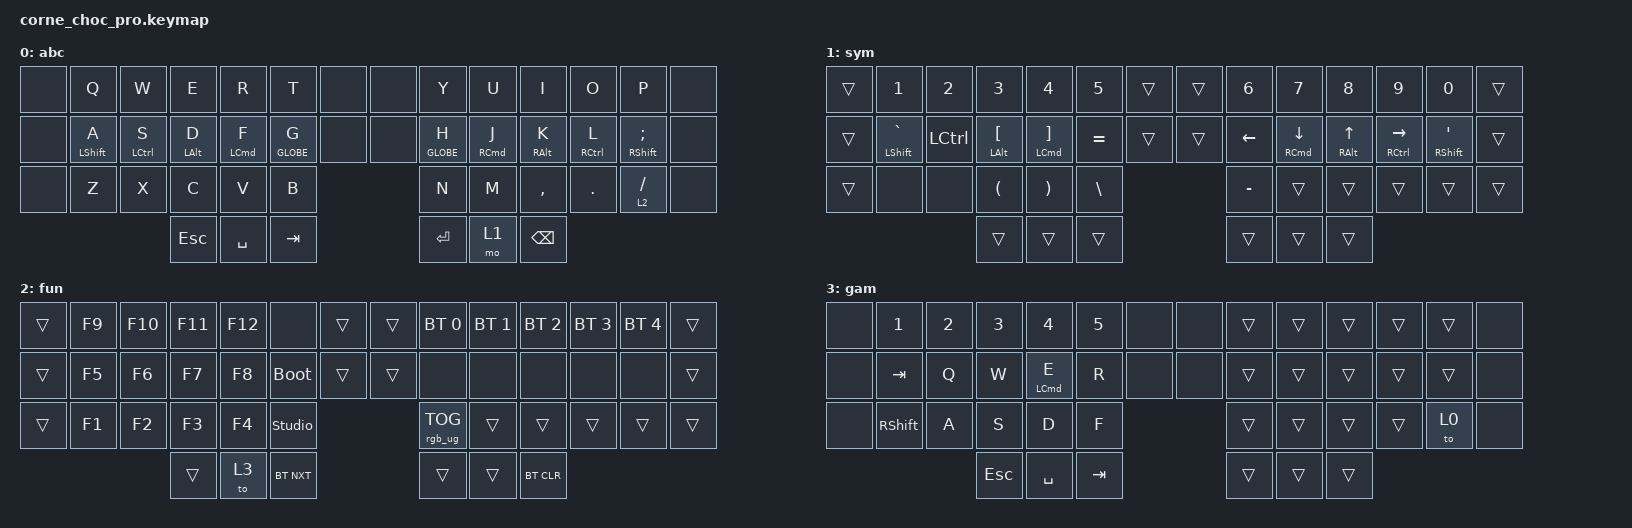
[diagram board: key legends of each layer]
/*
 * Copyright (c) 2020 The ZMK Contributors
 *
 * SPDX-License-Identifier: MIT
 */

#include <behaviors.dtsi>
#include <dt-bindings/zmk/bt.h>
#include <dt-bindings/zmk/keys.h>
#include <dt-bindings/zmk/rgb.h>

/ {
    chosen { zmk,physical-layout = &default_layout; };
};

/ {
    behaviors {
        // Timeless homerow mods implementation inspired by urob's work:
        // https://github.com/urob/zmk-config?tab=readme-ov-file#timeless-homerow-mods
        // Left-hand home row mods

        hml: home_row_mod_left {
            compatible = "zmk,behavior-hold-tap";
            label = "HOME_ROW_MOD_LEFT";
            #binding-cells = <2>;
            flavor = "balanced";
            tapping-term-ms = <280>;
            quick-tap-ms = <175>;
            require-prior-idle-ms = <150>;
            bindings = <&kp>, <&kp>;

            // Right-hand keys + thumbs for corne_choc_pro layout

            hold-trigger-key-positions = <8 9 10 11 12 22 23 24 25 26 34 35 36 37 38 43 44 45>;
            hold-trigger-on-release;
        };

        // Right-hand home row mods  

        hmr: home_row_mod_right {
            compatible = "zmk,behavior-hold-tap";
            label = "HOME_ROW_MOD_RIGHT";
            #binding-cells = <2>;
            flavor = "balanced";
            tapping-term-ms = <280>;
            quick-tap-ms = <175>;
            require-prior-idle-ms = <150>;
            bindings = <&kp>, <&kp>;

            // Left-hand keys + thumbs for corne_choc_pro layout  

            hold-trigger-key-positions = <1 2 3 4 5 15 16 17 18 19 29 30 31 32 33 40 41 42>;
            hold-trigger-on-release;
        };

        lt_hp: lt_hold_preferred {
            compatible = "zmk,behavior-hold-tap";
            label = "LT_HOLD_PREFERRED";
            #binding-cells = <2>;
            flavor = "hold-preferred";
            tapping-term-ms = <200>;
            bindings = <&mo>, <&kp>;
        };
    };

    keymap {
        compatible = "zmk,keymap";

        layer_base {
            display-name = "abc";

            // -----------------------------------------------------------------------------------------
            // |      |  Q  |  W  |  E  |  R  |  T  |      |      |  Y  |  U  |  I  |  O  |  P  |      |
            // |      | A/⇧ | S/⌃ | D/⌥ | F/⌘ | G/🌐 |      |      | H/🌐 | J/⌘ | K/⌥ | L/⌃ | ;/⇧ |      |
            // |      |  Z  |  X  |  C  |  V  |  B  |             |  N  |  M  |  ,  |  .  |  /  |      |
            //                    | ESC | SPC | TAB |             | RET | ⎋/≣ | BSPC |

            bindings = <
&none  &kp Q              &kp W         &kp E            &kp R                &kp T    &none  &none  &kp Y    &kp U                 &kp I             &kp O                 &kp P                       &none
&none  &hml LEFT_SHIFT A  &hml LCTRL S  &hml LEFT_ALT D  &hml LEFT_COMMAND F  &hml GLOBE G  &none  &none  &hmr GLOBE H  &hmr RIGHT_COMMAND J  &hmr RIGHT_ALT K  &hmr RIGHT_CONTROL L  &hmr RIGHT_SHIFT SEMICOLON  &none
&none  &kp Z              &kp X         &kp C            &kp V                &kp B                  &kp N    &kp M                 &kp COMMA         &kp DOT               &lt_hp 2 FSLH               &none
                                        &kp ESCAPE       &kp SPACE            &kp TAB                &kp RET  &mo 1                 &kp BSPC
            >;
        };

        layer_symnav {
            display-name = "sym";

            // -----------------------------------------------------------------------------------------
            // |      |  1  |  2  |  3  |  4  |  5  |      |      |  6  |  7  |  8  |  9  |  0  |      |
            // |      | `/⇧ | ⌃   | [/⌥ | ]/⌘ |  =  |      |      |  ←  | ↓/⌘ | ↑/⌥ | →/⌃ | '/⇧ |      |
            // |      |     |     |  (  |  )  | UNL |             |  -  |     |     |     |     |      |
            //                    |     |     |     |             |     |     |     |

            bindings = <
&trans  &kp N1                 &kp N2            &kp N3                      &kp N4                           &kp N5         &trans  &trans  &kp N6     &kp N7                   &kp N8                   &kp N9                          &kp N0                &trans
&trans  &hml LEFT_SHIFT GRAVE  &kp LEFT_CONTROL  &hml LEFT_ALT LEFT_BRACKET  &hml LEFT_COMMAND RIGHT_BRACKET  &kp EQUAL      &trans  &trans  &kp LEFT   &hmr RIGHT_COMMAND DOWN  &hmr RIGHT_ALT UP_ARROW  &hmr RIGHT_CONTROL RIGHT_ARROW  &hmr RIGHT_SHIFT SQT  &trans
&trans  &none                  &none             &kp LEFT_PARENTHESIS        &kp RIGHT_PARENTHESIS            &kp BACKSLASH                  &kp MINUS  &trans                   &trans                   &trans                          &trans                &trans
                                                 &trans                      &trans                           &trans                         &trans     &trans                   &trans
            >;
        };

        // -----------------------------------------------------------------------------------------
        // |      | F9  | F10 | F11 | F12 |     |      |      | BT→ | BTC | RST | BOT | UNL |      |
        // |      | F5  | F6  | F7  | F8  |     |      |      |     |     |     |     |     |      |
        // |      | F1  | F2  | F3  | F4  | UNL |             |     |     |     |     |     |      |
        //                    |     |     |     |             |     |     |     |

        layer_fun {
            display-name = "fun";
            bindings = <
&trans  &kp F9  &kp F10  &kp F11  &kp F12  &none           &trans  &trans  &bt BT_SEL 0     &bt BT_SEL 1  &bt BT_SEL 2  &bt BT_SEL 3  &bt BT_SEL 4  &trans
&trans  &kp F5  &kp F6   &kp F7   &kp F8   &bootloader     &trans  &trans  &none            &none         &none         &none         &none         &trans
&trans  &kp F1  &kp F2   &kp F3   &kp F4   &studio_unlock                  &rgb_ug RGB_TOG  &trans        &trans        &trans        &trans        &trans
                         &trans   &to 3    &bt BT_NXT                      &trans           &trans        &bt BT_CLR
            >;
        };

        layer_game {
            bindings = <
&none  &kp N1     &kp N2  &kp N3   &kp N4               &kp N5   &none  &none  &trans  &trans  &trans  &trans  &trans  &none
&none  &kp TAB    &kp Q   &kp W    &hml LEFT_COMMAND E  &kp R    &none  &none  &trans  &trans  &trans  &trans  &trans  &none
&none  &kp RSHFT  &kp A   &kp S    &kp D                &kp F                  &trans  &trans  &trans  &trans  &to 0   &none
                          &kp ESC  &kp SPACE            &kp TAB                &trans  &trans  &trans
            >;

            label = "gam";
        };
    };
};
